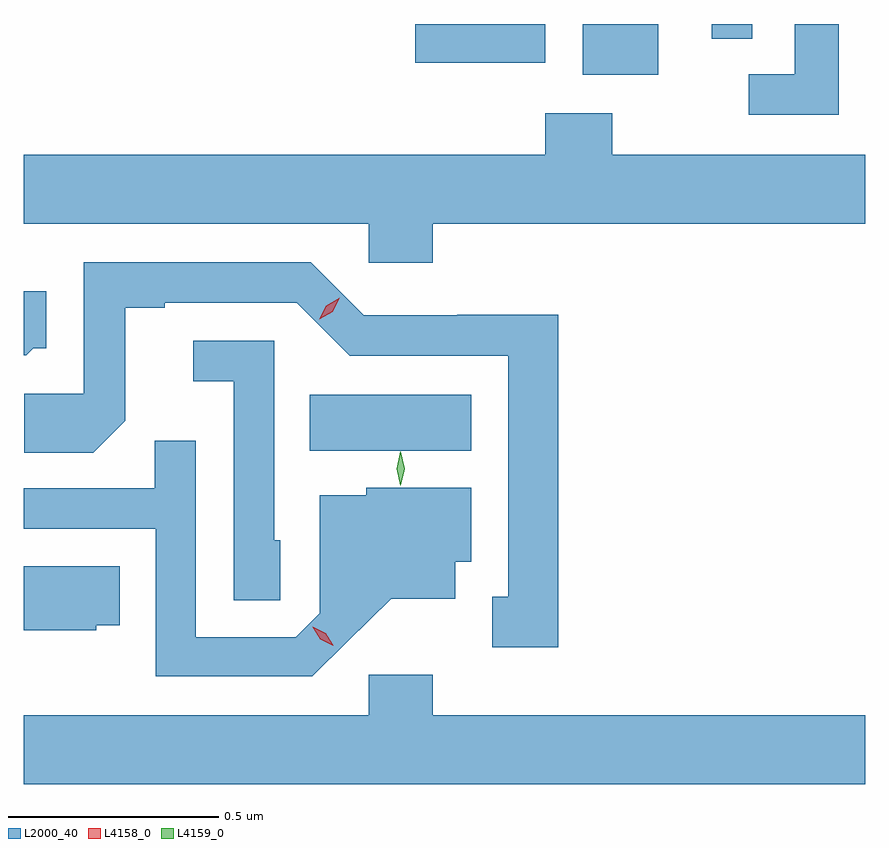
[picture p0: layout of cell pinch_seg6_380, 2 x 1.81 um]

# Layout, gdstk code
import gdstk
lib = gdstk.Library(unit=1e-6, precision=1e-09)
def R(c, l, rs):  # rectangles x0, y0, x1, y1
    for r in rs: c.add(gdstk.rectangle(r[:2], r[2:], *l))
def P(c, l, *ps):  # polygons
    for p in ps: c.add(gdstk.Polygon(p, *l))
L2000_40 = (2000, 40)
L4158_0 = (4158, 0)
L4159_0 = (4159, 0)

pinch_seg6_380 = lib.new_cell('pinch_seg6_380')
R(pinch_seg6_380, L2000_40, [(633.76,936.14,634.144,936.274), (634.409,937.034,634.588,937.155), (634.011,937.063,634.32,937.155), (634.716,937.12,634.812,937.155)])
P(pinch_seg6_380, L2000_40, [(635.017,937.155),(634.913,937.155),(634.913,937.035),(634.803,937.035),(634.803,936.939),(635.017,936.939)],
  [(634.052,936.68),(635.08,936.68),(635.08,936.844),(634.479,936.844),(634.479,936.943),(634.319,936.943),(634.319,936.844),(633.08,936.844),(633.08,936.68),(633.9,936.68),(633.9,936.587),(634.052,936.587)],
  [(634.351,936.464),(634.11,936.464),(634.11,936.462),(633.888,936.462),(633.762,936.588),(633.222,936.588),(633.222,936.276),(633.081,936.276),(633.081,936.136),(633.245,936.136),(633.321,936.212),(633.321,936.48),(633.415,936.48),(633.415,936.492),(633.729,936.492),(633.855,936.366),(634.232,936.366),(634.232,935.793),(634.193,935.793),(634.193,935.673),(634.351,935.673)],
  [(633.102,936.384),(633.133,936.384),(633.133,936.52),(633.08,936.52),(633.08,936.368),(633.086,936.368)],
  [(633.69,935.928),(633.675,935.928),(633.675,936.402),(633.483,936.402),(633.483,936.305),(633.579,936.305),(633.579,935.785),(633.69,935.785)],
  [(633.85,935.687),(633.953,935.789),(634.105,935.789),(634.105,935.876),(634.144,935.876),(634.144,936.052),(633.894,936.052),(633.894,936.034),(633.783,936.034),(633.783,935.754),(633.726,935.697),(633.489,935.697),(633.489,936.164),(633.391,936.164),(633.391,936.051),(633.08,936.051),(633.08,935.955),(633.393,935.955),(633.393,935.604),(633.766,935.604)],
  [(633.252,935.726),(633.308,935.726),(633.308,935.866),(633.08,935.866),(633.08,935.714),(633.252,935.714)],
  [(635.08,935.512),(634.052,935.512),(634.052,935.608),(633.9,935.608),(633.9,935.512),(633.08,935.512),(633.08,935.348),(635.08,935.348)])
P(pinch_seg6_380, L4158_0, [(633.782,936.453),(633.782,936.453),(633.799,936.485),(633.831,936.504),(633.831,936.504),(633.831,936.504),(633.814,936.471),(633.782,936.453)],
  [(633.816,935.677),(633.785,935.692),(633.767,935.721),(633.767,935.722),(633.767,935.722),(633.798,935.707),(633.816,935.678),(633.816,935.677)])
P(pinch_seg6_380, L4159_0, [(633.975,936.058),(633.966,936.098),(633.975,936.138),(633.975,936.138),(633.976,936.138),(633.985,936.098),(633.976,936.058),(633.976,936.058)])

lib.write_gds('pinch_seg6_380.gds')
